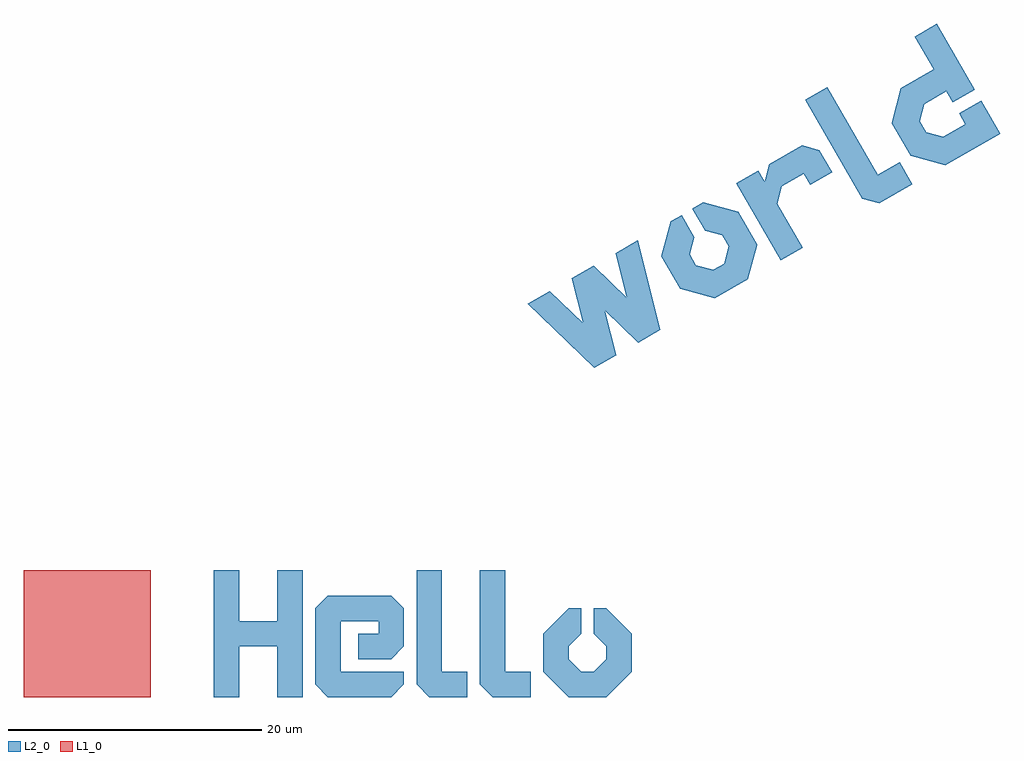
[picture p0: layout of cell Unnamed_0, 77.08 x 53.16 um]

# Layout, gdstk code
from math import pi, radians
import gdstk
lib = gdstk.Library(unit=1e-6, precision=1e-09)
def R(c, l, rs):  # rectangles x0, y0, x1, y1
    for r in rs: c.add(gdstk.rectangle(r[:2], r[2:], *l))
def P(c, l, *ps):  # polygons
    for p in ps: c.add(gdstk.Polygon(p, *l))
L1_0 = (1, 0)
L2_0 = (2, 0)

rectangle_gdsfactorypcom = lib.new_cell('rectangle_gdsfactorypcomponentspshapesprectangle_S10_10_4eaf6bbb')
R(rectangle_gdsfactorypcom, L1_0, [(0,0,10,10)])

text_gdsfactorypcomponen = lib.new_cell('text_gdsfactorypcomponentsptextsptext_THello_S10_P0_0_Jleft_L2_0')
P(text_gdsfactorypcomponen, L2_0, [(29,0),(27,2),(27,5),(29,7),(30,7),(30,5),(29,4),(29,3),(30,2),(31,2),(32,3),(32,4),(31,5),(31,7),(32,7),(34,5),(34,2),(32,0)],
  [(10,0),(9,1),(9,7),(10,8),(15,8),(16,7),(16,4),(15,3),(12.4,3),(12.4,5),(14,5),(14,6),(11,6),(11,2),(16,2),(16,1),(15,0)],
  [(1,0),(1,10),(3,10),(3,6),(6,6),(6,10),(8,10),(8,0),(6,0),(6,4),(3,4),(3,0)],
  [(18,0),(17,1),(17,10),(19,10),(19,2),(21,2),(21,0)],
  [(23,0),(22,1),(22,10),(24,10),(24,2),(26,2),(26,0)])

c_text_gdsfactorypcomponen = lib.new_cell('text_gdsfactorypcomponentsptextsptext_Tworld_S10_P0_0_Jleft_L2_0')
P(c_text_gdsfactorypcomponen, L2_0, [(3,0),(1,7),(3,7),(4,3.5),(5,7),(7,7),(8,3.5),(9,7),(11,7),(9,0),(7,0),(6,3.5),(5,0)],
  [(14,0),(12,2),(12,5),(14,7),(15,7),(15,5),(14,4),(14,3),(15,2),(16,2),(17,3),(17,4),(16,5),(16,7),(17,7),(19,5),(19,2),(17,0)],
  [(20,0),(20,7),(22,7),(22,6),(23,7),(26,7),(27,6),(27,4),(25,4),(25,5),(23,5),(22,4),(22,0)],
  [(29,0),(28,1),(28,10),(30,10),(30,2),(32,2),(32,0)],
  [(35,0),(33,2),(33,5),(35,7),(38,7),(38,10),(40,10),(40,4),(38,4),(38,5),(36,5),(35,4),(35,3),(36,2),(38,2),(38,3),(40,3),(40,0)])

unnamed_0 = lib.new_cell('Unnamed_0')
unnamed_0.add(gdstk.Reference(rectangle_gdsfactorypcom, (0,0)))
unnamed_0.add(gdstk.Reference(text_gdsfactorypcomponen, (14,0)))
unnamed_0.add(gdstk.Reference(c_text_gdsfactorypcomponen, (42.435,24.5), rotation=radians(30)))

lib.write_gds('Unnamed_0.gds')
